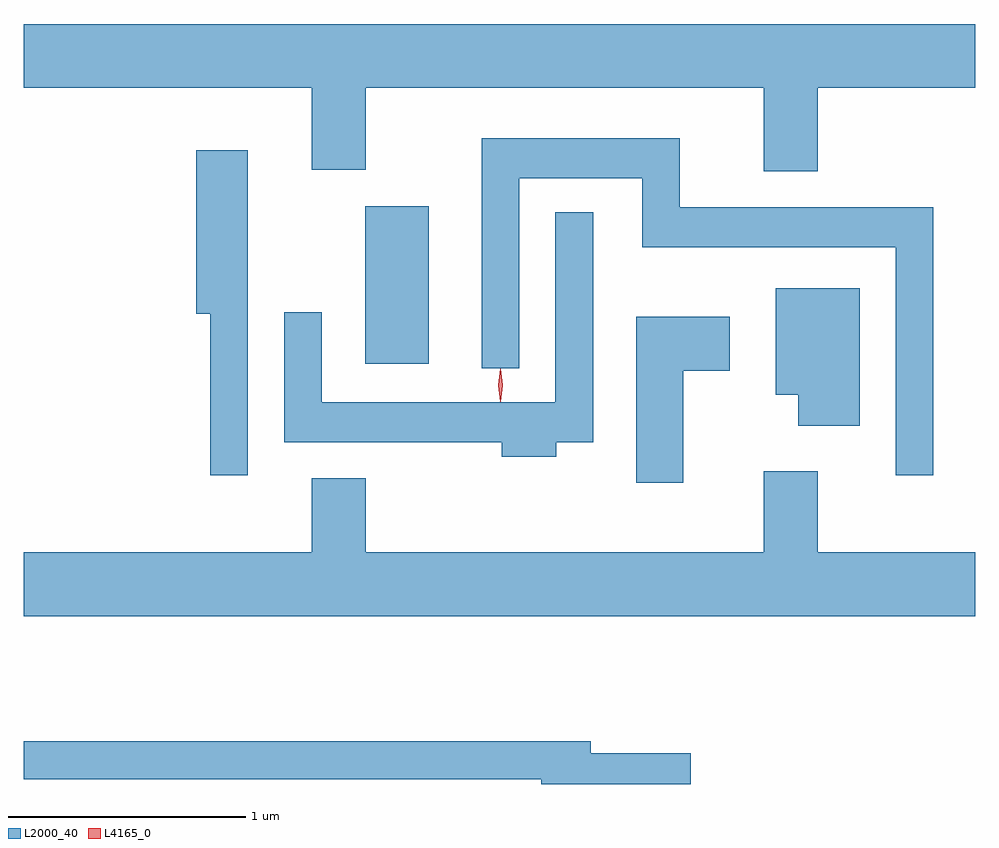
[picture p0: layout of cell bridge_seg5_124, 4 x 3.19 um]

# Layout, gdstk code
import gdstk
lib = gdstk.Library(unit=1e-6, precision=1e-09)
def R(c, l, rs):  # rectangles x0, y0, x1, y1
    for r in rs: c.add(gdstk.rectangle(r[:2], r[2:], *l))
def P(c, l, *ps):  # polygons
    for p in ps: c.add(gdstk.Polygon(p, *l))
L2000_40 = (2000, 40)
L4165_0 = (4165, 0)

bridge_seg5_124 = lib.new_cell('bridge_seg5_124')
R(bridge_seg5_124, L2000_40, [(1163.576,1415.676,1163.844,1416.339)])
P(bridge_seg5_124, L2000_40, [(1165.479,1416.836),(1166.141,1416.836),(1166.141,1417.104),(1162.141,1417.104),(1162.141,1416.836),(1163.351,1416.836),(1163.351,1416.491),(1163.579,1416.491),(1163.579,1416.836),(1165.251,1416.836),(1165.251,1416.486),(1165.479,1416.486)],
  [(1165.964,1416.334),(1164.899,1416.334),(1164.899,1416.624),(1164.066,1416.624),(1164.066,1415.658),(1164.224,1415.658),(1164.224,1416.456),(1164.741,1416.456),(1164.741,1416.166),(1165.806,1416.166),(1165.806,1415.208),(1165.964,1415.208)],
  [(1163.084,1416.574),(1162.866,1416.574),(1162.866,1415.886),(1162.926,1415.886),(1162.926,1415.208),(1163.084,1415.208)],
  [(1164.379,1415.346),(1164.534,1415.346),(1164.534,1416.313),(1164.376,1416.313),(1164.376,1415.514),(1163.394,1415.514),(1163.394,1415.893),(1163.236,1415.893),(1163.236,1415.346),(1164.151,1415.346),(1164.151,1415.286),(1164.379,1415.286)],
  [(1165.654,1415.994),(1165.301,1415.994),(1165.301,1415.546),(1165.396,1415.546),(1165.396,1415.416),(1165.654,1415.416)],
  [(1164.914,1415.646),(1165.109,1415.646),(1165.109,1415.874),(1164.716,1415.874),(1164.716,1415.176),(1164.914,1415.176)],
  [(1166.141,1414.884),(1165.479,1414.884),(1165.479,1415.224),(1165.251,1415.224),(1165.251,1414.884),(1163.579,1414.884),(1163.579,1415.194),(1163.351,1415.194),(1163.351,1414.884),(1162.141,1414.884),(1162.141,1414.616),(1166.141,1414.616)],
  [(1164.944,1414.039),(1164.524,1414.039),(1164.524,1414.089),(1162.141,1414.089),(1162.141,1413.931),(1164.316,1413.931),(1164.316,1413.91),(1164.944,1413.91)])
P(bridge_seg5_124, L4165_0, [(1164.144,1415.517),(1164.135,1415.586),(1164.144,1415.656),(1164.145,1415.656),(1164.146,1415.656),(1164.155,1415.586),(1164.146,1415.517),(1164.145,1415.517)])

lib.write_gds('bridge_seg5_124.gds')
